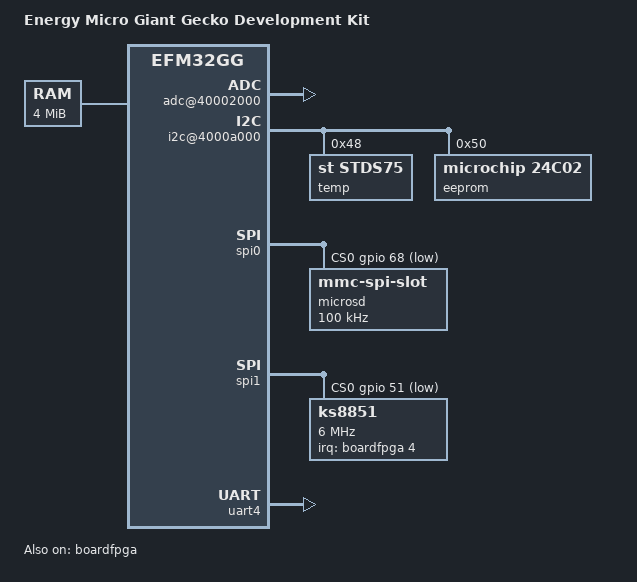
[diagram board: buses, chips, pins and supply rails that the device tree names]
/*
 * Device tree for EFM32GG-DK3750 development board.
 *
 * Documentation available from
 * http://www.silabs.com/Support%20Documents/TechnicalDocs/efm32gg-dk3750-ug.pdf
 */

/dts-v1/;
#include "efm32gg.dtsi"

/ {
	model = "Energy Micro Giant Gecko Development Kit";
	compatible = "efm32,dk3750";

	chosen {
		bootargs = "console=ttyefm4,115200 init=/linuxrc ignore_loglevel ihash_entries=64 dhash_entries=64 earlyprintk uclinux.physaddr=0x8c400000 root=/dev/mtdblock0";
	};

	memory {
		reg = <0x88000000 0x400000>;
	};

	soc {
		adc@40002000 {
			status = "ok";
		};

		i2c@4000a000 {
			efm32,location = <3>;
			status = "ok";

			temp@48 {
				compatible = "st,stds75";
				reg = <0x48>;
			};

			eeprom@50 {
				compatible = "microchip,24c02";
				reg = <0x50>;
				pagesize = <16>;
			};
		};

		spi0: spi@4000c000 { /* USART0 */
			cs-gpios = <&gpio 68 1>; // E4
			location = <1>;
			status = "ok";

			microsd@0 {
				compatible = "mmc-spi-slot";
				spi-max-frequency = <100000>;
				voltage-ranges = <3200 3400>;
				broken-cd;
				reg = <0>;
			};
		};

		spi1: spi@4000c400 { /* USART1 */
			cs-gpios = <&gpio 51 1>; // D3
			location = <1>;
			status = "ok";

			ks8851@0 {
				compatible = "ks8851";
				spi-max-frequency = <6000000>;
				reg = <0>;
				interrupt-parent = <&boardfpga>;
				interrupts = <4>;
			};
		};

		uart4: uart@4000e400 { /* UART1 */
			location = <2>;
			status = "ok";
		};

		boardfpga: boardfpga {
			compatible = "efm32board";
			reg = <0x80000000 0x400>;
			irq-gpios = <&gpio 64 1>;
			interrupt-controller;
			#interrupt-cells = <1>;
			status = "ok";
		};
	};
};
